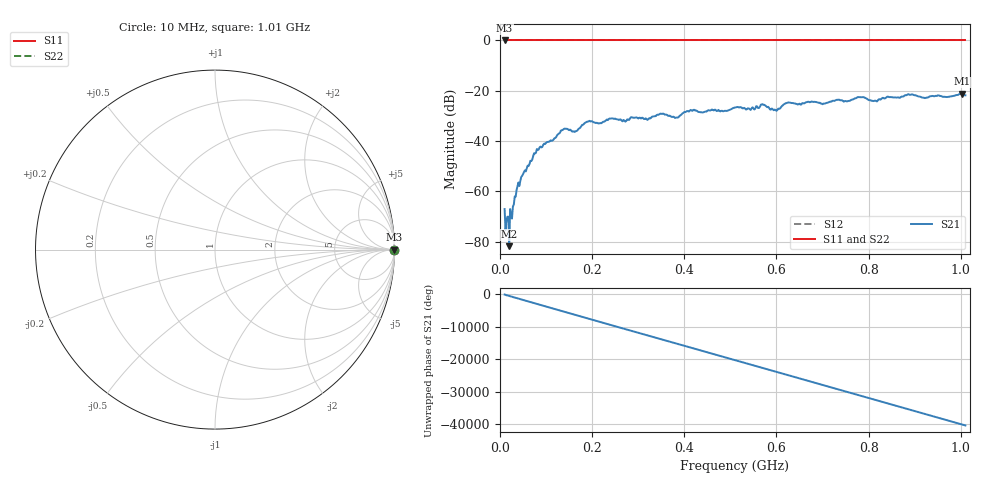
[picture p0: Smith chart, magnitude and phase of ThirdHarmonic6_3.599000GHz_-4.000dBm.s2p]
! 8/17/2025 11:59:37 AM
! C:\ANRITSUVNA\TEMP\TEMP.S2P
! CHANNEL.1
! TR.MEASUREMENT
! RAW.DATA
! RF.CORRECTION.OFF
! AVERAGING.OFF
! IF.BANDWIDTH: 5KHZ
! SWEEPTYPE:  FREQ.SWEEP(Linear)
! Reference Plane Port Info
! PORT:  PORT1  PORT2
! DISTANCE:  0  m  0  m
! TIME:  0  s  0  s
! PHASE.OFFSET:  0  deg.  0  deg.
! LOSS:  0  dB  0  dB
! REF.LOSS:  0  dB  0  dB
! REF.FREQ:  0  Hz  0  Hz
! Power Info
! POWER:  -20  dBm  -20  dBm
! EFF.POWER:  -20  dBm  -20  dBm
! SOURCE.ATTEN:  0  dB  0  dB
! TEST.ATTEN:  0  dB  0  dB
# GHZ S RI R 50.0
! FREQ.GHZ  S11RE  S11IM  S21RE  S21IM  S12RE  S12IM  S22RE  S22IM
!; PortSelection: Port_12
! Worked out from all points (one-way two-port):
!   501 points, 10 MHz to 1.01 GHz, reference 50 ohm
!   highest |S21| = -21.20 dB at 1.002 GHz (marker M1); lowest = -81.8 dB at 20 MHz (marker M2)
!   lowest |S11| = 0.0 dB at 10 MHz (marker M3)
!   |S11| at or under -10 dB: nowhere
!   |S22| runs from 0.0 to 0.0 dB; largest |S21 - S12| = 1.1
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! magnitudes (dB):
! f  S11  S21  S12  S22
! 10 MHz  0.0  -67.1  0.0  0.0
! 14 MHz  0.0  -71.7  0.0  0.0
! 16 MHz  0.0  -70.2  0.0  0.0
! 20 MHz  0.0  -81.8  0.0  0.0
! 24 MHz  0.0  -69.9  0.0  0.0
! 36 MHz  0.0  -59.5  0.0  0.0
! 42 MHz  0.0  -57.9  0.0  0.0
! 78 MHz  0.0  -44.7  0.0  0.0
! 136 MHz  0.0  -35.7  0.0  0.0
! 162 MHz  0.0  -36.4  0.0  0.0
! 178 MHz  0.0  -33.7  0.0  0.0
! 344 MHz  0.0  -29.5  0.0  0.0
! 384 MHz  0.0  -30.6  0.0  0.0
! 416 MHz  0.0  -27.9  0.0  0.0
! 510 MHz  0.0  -26.7  0.0  0.0
! 570 MHz  0.0  -25.4  0.0  0.0
! 598 MHz  0.0  -27.7  0.0  0.0
! 624 MHz  0.0  -24.8  0.0  0.0
! 678 MHz  0.0  -24.4  0.0  0.0
! 844 MHz  0.0  -22.5  0.0  0.0
! 1.002 GHz  0.0  -21.2  0.0  0.0
! 1.01 GHz  0.0  -21.8  0.0  0.0
